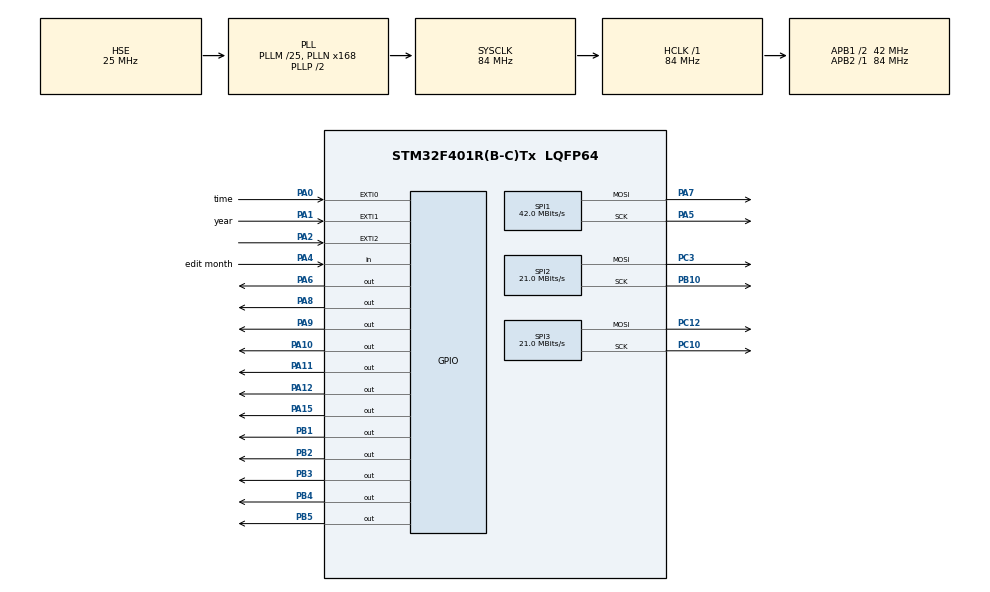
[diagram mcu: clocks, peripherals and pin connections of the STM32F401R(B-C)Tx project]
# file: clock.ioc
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Mcu.Family=STM32F4
Mcu.Name=STM32F401R(B-C)Tx
Mcu.Package=LQFP64
NVIC.EXTI0_IRQn=true\:0\:0\:false\:false\:true\:true\:true\:true
NVIC.EXTI1_IRQn=true\:0\:0\:false\:false\:true\:true\:true\:true
NVIC.PriorityGroup=NVIC_PRIORITYGROUP_4
NVIC.RTC_Alarm_IRQn=true\:0\:0\:false\:false\:true\:true\:true\:true
PA0-WKUP.GPIO_Label=time 
PA0-WKUP.Signal=GPXTI0
PA1.GPIO_Label=year
PA1.Signal=GPXTI1
PA10.Signal=GPIO_Output
PA11.Signal=GPIO_Output
PA12.Signal=GPIO_Output
PA13.Mode=Serial_Wire
PA13.Signal=SYS_JTMS-SWDIO
PA14.Mode=Serial_Wire
PA14.Signal=SYS_JTCK-SWCLK
PA15.Signal=GPIO_Output
PA2.Signal=GPXTI2
PA4.GPIO_Label=edit month
PA4.Signal=GPIO_Input
PA5.Mode=TX_Only_Simplex_Unidirect_Master
PA5.Signal=SPI1_SCK
PA6.Signal=GPIO_Output
PA7.Mode=TX_Only_Simplex_Unidirect_Master
PA7.Signal=SPI1_MOSI
PA8.Signal=GPIO_Output
PA9.Signal=GPIO_Output
PB0.Signal=EVENTOUT
PB1.Signal=GPIO_Output
PB10.Mode=TX_Only_Simplex_Unidirect_Master
PB10.Signal=SPI2_SCK
PB2.Signal=GPIO_Output
PB3.Signal=GPIO_Output
PB4.Signal=GPIO_Output
PB5.Signal=GPIO_Output
PC10.Mode=TX_Only_Simplex_Unidirect_Master
PC10.Signal=SPI3_SCK
PC12.Mode=TX_Only_Simplex_Unidirect_Master
PC12.Signal=SPI3_MOSI
PC14-OSC32_IN.Mode=LSE-External-Oscillator
PC14-OSC32_IN.Signal=RCC_OSC32_IN
PC15-OSC32_OUT.Mode=LSE-External-Oscillator
PC15-OSC32_OUT.Signal=RCC_OSC32_OUT
PC3.Mode=TX_Only_Simplex_Unidirect_Master
PC3.Signal=SPI2_MOSI
PH0\ -\ OSC_IN.Mode=HSE-External-Oscillator
PH0\ -\ OSC_IN.Signal=RCC_OSC_IN
PH1\ -\ OSC_OUT.Mode=HSE-External-Oscillator
PH1\ -\ OSC_OUT.Signal=RCC_OSC_OUT
ProjectManager.HeapSize=0x200
ProjectManager.StackSize=0x400
ProjectManager.TargetToolchain=STM32CubeIDE
RCC.48MHZClocksFreq_Value=42000000
RCC.AHBFreq_Value=84000000
RCC.APB1CLKDivider=RCC_HCLK_DIV2
RCC.APB1Freq_Value=42000000
RCC.APB1TimFreq_Value=84000000
RCC.APB2Freq_Value=84000000
RCC.APB2TimFreq_Value=84000000
RCC.CortexFreq_Value=84000000
RCC.HCLKFreq_Value=84000000
RCC.HSE_VALUE=25000000
RCC.HSI_VALUE=16000000
RCC.PLLM=25
RCC.PLLN=168
RCC.PLLSourceVirtual=RCC_PLLSOURCE_HSE
RCC.SYSCLKFreq_VALUE=84000000
RCC.SYSCLKSource=RCC_SYSCLKSOURCE_PLLCLK
RCC.VCOOutputFreq_Value=168000000
RTC.Alarm=RTC_ALARM_A
RTC.Alarm_B=RTC_ALARM_B
RTC.Format=RTC_FORMAT_BIN
RTC.HourFormat=RTC_HOURFORMAT_24
RTC.Hours=7
RTC.Hours_A=8
RTC.Hours_B=8
RTC.Minutes=59
RTC.Minutes_B=1
RTC.Seconds=50
SPI1.BaudRatePrescaler=SPI_BAUDRATEPRESCALER_2
SPI1.CalculateBaudRate=42.0 MBits/s
SPI1.Direction=SPI_DIRECTION_2LINES
SPI1.Mode=SPI_MODE_MASTER
SPI1.VirtualType=VM_MASTER
SPI2.BaudRatePrescaler=SPI_BAUDRATEPRESCALER_2
SPI2.CalculateBaudRate=21.0 MBits/s
SPI2.Direction=SPI_DIRECTION_2LINES
SPI2.Mode=SPI_MODE_MASTER
SPI2.VirtualType=VM_MASTER
SPI3.BaudRatePrescaler=SPI_BAUDRATEPRESCALER_2
SPI3.CalculateBaudRate=21.0 MBits/s
SPI3.Direction=SPI_DIRECTION_2LINES
SPI3.Mode=SPI_MODE_MASTER
SPI3.VirtualType=VM_MASTER
VP_RTC_VS_RTC_Activate.Mode=RTC_Enabled
VP_RTC_VS_RTC_Alarm_A_Intern.Mode=Alarm A
VP_RTC_VS_RTC_Alarm_B_Intern.Mode=Alarm B
VP_RTC_VS_RTC_Calendar.Mode=RTC_Calendar
board=custom

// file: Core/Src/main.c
/* USER CODE BEGIN Header */
/**
  ******************************************************************************
  * @file           : main.c
  * @brief          : Main program body
  ******************************************************************************
  * @attention
  *
  * Copyright (c) 2023 STMicroelectronics.
  * All rights reserved.
  *
  * This software is licensed under terms that can be found in the LICENSE file
  * in the root directory of this software component.
  * If no LICENSE file comes with this software, it is provided AS-IS.
  *
  ******************************************************************************
  */
/* USER CODE END Header */
#include "main.h"
#include "rtc.h"
#include "spi.h"
#include "gpio.h"

/* USER CODE BEGIN PTD */
char time[30];
char date[30];
 RTC_TimeTypeDef sTime ;
 RTC_DateTypeDef sDate ;
 RTC_AlarmTypeDef sAlarm;
 RTC_TimeTypeDef Fajr= {
	.Hours=4,
	.Minutes=44,
 };
 RTC_TimeTypeDef zohr = {
	.Hours=11,
	.Minutes=40,
		 };
 RTC_TimeTypeDef asr = {
	.Hours=2,
	.Minutes=54,
		 };
 RTC_TimeTypeDef magreb = {
	.Hours=6,
	.Minutes=40,
		 };
 RTC_TimeTypeDef asha = {
	.Hours=4,
	.Minutes=40,
		 };

 uint8_t digit[10][4]={
		 {0,0,0,0},
		 {0,0,0,1},
		 {0,0,1,0},
		 {0,0,1,1},
		 {0,1,0,0},
		 {0,1,0,1},
		 {0,1,1,0},
		 {0,1,1,1},
		 {1,0,0,0},
		 {1,0,0,1},
 };
/* USER CODE END PTD */

/* USER CODE BEGIN PM */
void seven_seg_FAJER_S(uint8_t number){
	HAL_GPIO_WritePin(GPIOA, GPIO_PIN_8,digit[number][3]);
	HAL_GPIO_WritePin(GPIOA, GPIO_PIN_9,digit[number][2]);
	HAL_GPIO_WritePin(GPIOA, GPIO_PIN_10,digit[number][1]);
	HAL_GPIO_WritePin(GPIOA, GPIO_PIN_11,digit[number][0]);
}
void seven_seg_FAJER_M(uint8_t number){
	HAL_GPIO_WritePin(GPIOA, GPIO_PIN_12,digit[number][3]);
	HAL_GPIO_WritePin(GPIOB, GPIO_PIN_4,digit[number][2]);
	HAL_GPIO_WritePin(GPIOB, GPIO_PIN_5,digit[number][1]);
	HAL_GPIO_WritePin(GPIOA, GPIO_PIN_15,digit[number][0]);
}
void seven_seg_FAJER_H(uint8_t number){
	HAL_GPIO_WritePin(GPIOB, GPIO_PIN_0,digit[number][3]);
	HAL_GPIO_WritePin(GPIOB, GPIO_PIN_1,digit[number][2]);
	HAL_GPIO_WritePin(GPIOB, GPIO_PIN_2,digit[number][1]);
	HAL_GPIO_WritePin(GPIOB, GPIO_PIN_3,digit[number][0]);
}
/* USER CODE END PM */

void SystemClock_Config(void);

int main(void)
{

  /* MCU Configuration--------------------------------------------------------*/

  /* Reset of all peripherals, Initializes the Flash interface and the Systick. */
  HAL_Init();

  /* Configure the system clock */
  SystemClock_Config();

  /* Initialize all configured peripherals */
  MX_GPIO_Init();
  MX_SPI1_Init();
  MX_SPI2_Init();
  MX_SPI3_Init();
  MX_RTC_Init();

  /* Infinite loop */
  while (1)
  {

    /* USER CODE BEGIN 3 */
	  HAL_RTC_GetDate(&hrtc, &sDate, RTC_FORMAT_BIN);
	  HAL_RTC_GetTime(&hrtc, &sTime, RTC_FORMAT_BIN);
	  seven_seg_FAJER_S((Fajr.Minutes%10)-10);
	  seven_seg_FAJER_M((Fajr.Minutes/10));
	  seven_seg_FAJER_H(Fajr.Hours);

	  if((sTime.Hours==Fajr.Hours)&&(sTime.Minutes==Fajr.Minutes)){
		  /*make the output signal*/
	  }
	  if((sTime.Hours==zohr.Hours)&&(sTime.Minutes==zohr.Minutes)){
	  		  /*make the output signal*/
	  	  }
	  if((sTime.Hours==asr.Hours)&&(sTime.Minutes==asr.Minutes)){
	  		  /*make the output signal*/
	  	  }
	  if((sTime.Hours==magreb.Hours)&&(sTime.Minutes==magreb.Minutes)){
	  		  /*make the output signal*/
	  	  }
	  if((sTime.Hours==asha.Hours)&&(sTime.Minutes==asha.Minutes)){
	  		  /*make the output signal*/
	  	  }
	/* if(sTime.Hours>10){
		  max7219_PrintITos(DIGT_8, sTime.Hours,hspi1);
	  }else{
		  max7219_PrintITos(DIGT_7, sTime.Hours,hspi1);
	  }

	  if(sTime.Minutes>10){
	  		  max7219_PrintITos(DIGT_5, sTime.Minutes,hspi1);
	  }else{
		      max7219_PrintITos(DIGT_5, 0,hspi1);
	  		  max7219_PrintITos(DIGT_4, sTime.Minutes,hspi1);
	  }
	  if(sTime.Seconds>10){
	  		  max7219_PrintITos(DIGT_2, sTime.Seconds,hspi1);
	  }else{
		  max7219_PrintITos(DIGT_2, 0,hspi1);
		  max7219_PrintITos(DIGT_1, sTime.Seconds,hspi1);
	  }

	 //HAL_Delay(1000);
	  max7219_PrintITos(DIGT_8, sDate.Date,hspi2);
	  max7219_PrintITos(DIGT_6, sDate.Month,hspi2);
	  max7219_PrintITos(DIGT_4, 2000+sDate.Year,hspi2);*/

  }
  /* USER CODE END 3 */
}

void SystemClock_Config(void)
{
  RCC_OscInitTypeDef RCC_OscInitStruct = {0};
  RCC_ClkInitTypeDef RCC_ClkInitStruct = {0};

  /** Configure the main internal regulator output voltage
  */
  __HAL_RCC_PWR_CLK_ENABLE();
  __HAL_PWR_VOLTAGESCALING_CONFIG(PWR_REGULATOR_VOLTAGE_SCALE2);

  /** Initializes the RCC Oscillators according to the specified parameters
  * in the RCC_OscInitTypeDef structure.
  */
  RCC_OscInitStruct.OscillatorType = RCC_OSCILLATORTYPE_LSI|RCC_OSCILLATORTYPE_HSE;
  RCC_OscInitStruct.HSEState = RCC_HSE_ON;
  RCC_OscInitStruct.LSIState = RCC_LSI_ON;
  RCC_OscInitStruct.PLL.PLLState = RCC_PLL_ON;
  RCC_OscInitStruct.PLL.PLLSource = RCC_PLLSOURCE_HSE;
  RCC_OscInitStruct.PLL.PLLM = 25;
  RCC_OscInitStruct.PLL.PLLN = 168;
  RCC_OscInitStruct.PLL.PLLP = RCC_PLLP_DIV2;
  RCC_OscInitStruct.PLL.PLLQ = 4;
  if (HAL_RCC_OscConfig(&RCC_OscInitStruct) != HAL_OK)
  {
    Error_Handler();
  }

  /** Initializes the CPU, AHB and APB buses clocks
  */
  RCC_ClkInitStruct.ClockType = RCC_CLOCKTYPE_HCLK|RCC_CLOCKTYPE_SYSCLK
                              |RCC_CLOCKTYPE_PCLK1|RCC_CLOCKTYPE_PCLK2;
  RCC_ClkInitStruct.SYSCLKSource = RCC_SYSCLKSOURCE_PLLCLK;
  RCC_ClkInitStruct.AHBCLKDivider = RCC_SYSCLK_DIV1;
  RCC_ClkInitStruct.APB1CLKDivider = RCC_HCLK_DIV2;
  RCC_ClkInitStruct.APB2CLKDivider = RCC_HCLK_DIV1;

  if (HAL_RCC_ClockConfig(&RCC_ClkInitStruct, FLASH_LATENCY_2) != HAL_OK)
  {
    Error_Handler();
  }
}

void Error_Handler(void)
{
  __disable_irq();
  while (1)
  {
  }
}
